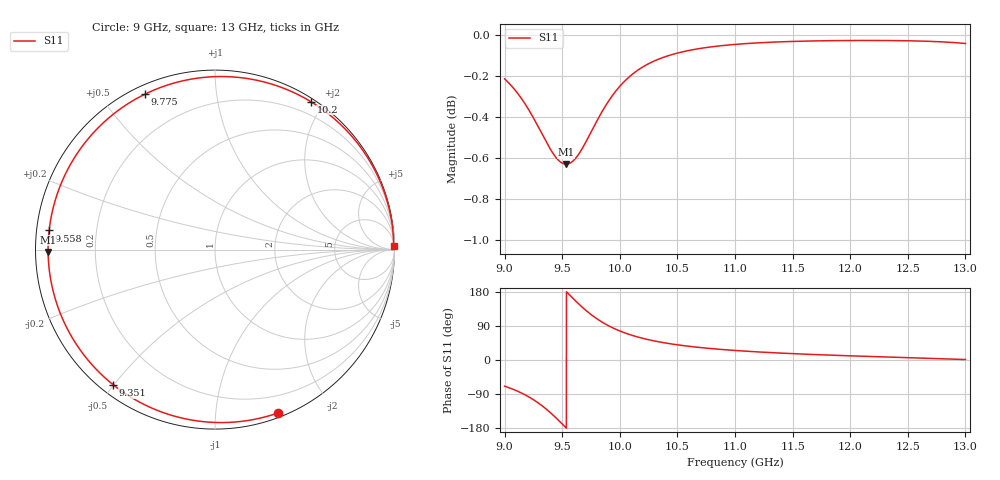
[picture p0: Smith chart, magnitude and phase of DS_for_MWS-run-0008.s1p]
! TOUCHSTONE file generated by CST DESIGN STUDIO
! Date and time: Tue Feb  4 13:27:58 2025
! Project name: C:\Work\MatlabApps\UnitCellOptimizationMatlab\CST\unitcell.cst
! Tree item: Tasks\Sweep1\SPara1\S-Parameters
! Header version: 2024
! Port assignment regex: !\s*Touchstone port\s*([0-9]+)\s*=\s*(CST MWS port|CST DES external port|CST DES block port)\s*(.+)\s* \(\"(.*)\"\)(\s*mode\s*([0-9]+))?.*
! Touchstone port assignment:
! Touchstone port 1 = CST DES external port 1 ("")
# GHz S MA R 50
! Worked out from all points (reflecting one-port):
!   4001 points, 9 GHz to 13 GHz, reference 50 ohm
!   lowest |S11| = -0.6 dB at 9.534 GHz (marker M1), VSWR 27.60, Z = 1.81 - j0.353 ohm
!   phase of S11 starts at -69 deg and turns -290 deg over the sweep
!   S11 on the Smith chart (normalised r, x): 9 GHz: 0.04, -1.45; 9.351 GHz: 0.04, -0.50; 9.558 GHz: 0.04, +0.06; 9.775 GHz: 0.04, +0.64; 10.2 GHz: 0.04, +1.84; 13 GHz: 20, +88
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9  0.9756 -69.1
9.1  0.9687 -80.6
9.208  0.959 -97.0
9.283  0.9508 -111.4
9.351  0.9429 -126.9
9.422  0.9355 -145.7
9.463  0.9324 -157.6
9.5  0.9306 -168.7
9.534  0.9301 -179.2
9.558  0.9303 173.4
9.612  0.9328 157.0
9.672  0.9381 139.9
9.723  0.9437 126.6
9.775  0.9498 114.4
9.822  0.9552 104.6
9.874  0.9607 95.0
9.937  0.9666 85.1
10  0.9715 76.6
10.096  0.9774 66.1
10.201  0.9821 57.1
10.338  0.9864 48.0
10.5  0.9897 40.1
10.721  0.9925 32.2
11  0.9945 25.1
11.5  0.9962 16.8
12  0.9967 11.0
12.5  0.9966 6.2
13  0.9951 1.2
